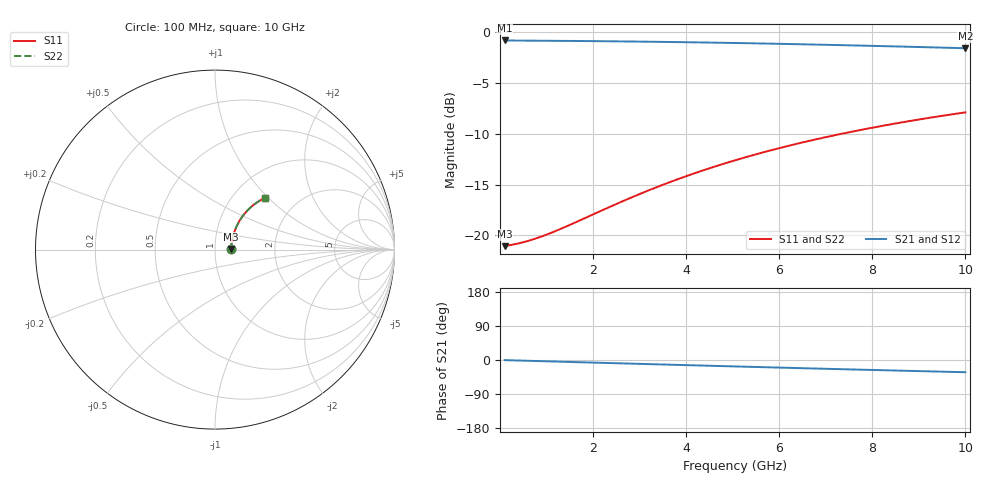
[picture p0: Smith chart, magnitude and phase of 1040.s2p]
# Hz S RI R 50.00
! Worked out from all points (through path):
!   100 points, 100 MHz to 10 GHz, reference 50 ohm
!   highest |S21| = -0.80 dB at 100 MHz (marker M1); lowest = -1.6 dB at 10 GHz (marker M2)
!   group delay of S21, straight-line fit = 8.98 ps
!   lowest |S11| = -21.1 dB at 100 MHz (marker M3), VSWR 1.19, Z = 59.7 + j0.47 ohm
!   |S11| at or under -10 dB: start of sweep to 7.333 GHz
!   |S22| runs from -21.1 to -7.9 dB; largest |S21 - S12| = 0
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1e8  0.0885 0.00391  0.9115 -0.00545  0.9115 -0.00545  0.0885 0.00391
3e8  0.0896 0.0117  0.9104 -0.0163  0.9104 -0.0163  0.0896 0.0117
5e8  0.0905 0.0194  0.9094 -0.0272  0.9094 -0.0272  0.0905 0.0194
8e8  0.0921 0.031  0.9078 -0.0434  0.9078 -0.0434  0.0921 0.031
1e9  0.0932 0.0387  0.9066 -0.0542  0.9066 -0.0542  0.0932 0.0387
1.2e9  0.0945 0.0463  0.9053 -0.0649  0.9053 -0.0649  0.0945 0.0463
1.8e9  0.0994 0.069  0.9002 -0.0968  0.9002 -0.0968  0.0994 0.069
2.7e9  0.1093 0.102  0.8898 -0.1438  0.8898 -0.1438  0.1093 0.102
3.1e9  0.1147 0.1163  0.884 -0.1643  0.884 -0.1643  0.1147 0.1163
3.4e9  0.1192 0.1267  0.8793 -0.1794  0.8793 -0.1794  0.1192 0.1267
3.8e9  0.1257 0.1403  0.8724 -0.1992  0.8724 -0.1992  0.1257 0.1403
4.2e9  0.1328 0.1535  0.8649 -0.2186  0.8649 -0.2186  0.1328 0.1535
4.6e9  0.1405 0.1664  0.8568 -0.2376  0.8568 -0.2376  0.1405 0.1664
5.1e9  0.1507 0.1817  0.846 -0.2608  0.846 -0.2608  0.1507 0.1817
5.5e9  0.1595 0.1935  0.8367 -0.2788  0.8367 -0.2788  0.1595 0.1935
5.9e9  0.1687 0.2048  0.8269 -0.2963  0.8269 -0.2963  0.1687 0.2048
6.3e9  0.1783 0.2155  0.8166 -0.3134  0.8166 -0.3134  0.1783 0.2155
6.7e9  0.1883 0.2258  0.8059 -0.3298  0.8059 -0.3298  0.1883 0.2258
7.5e9  0.2094 0.2446  0.7834 -0.3612  0.7834 -0.3612  0.2094 0.2446
8.4e9  0.2344 0.2632  0.7566 -0.3939  0.7566 -0.3939  0.2344 0.2632
9.2e9  0.2576 0.2773  0.7316 -0.4207  0.7316 -0.4207  0.2576 0.2773
1e10  0.2813 0.2891  0.7059 -0.4452  0.7059 -0.4452  0.2813 0.2891
